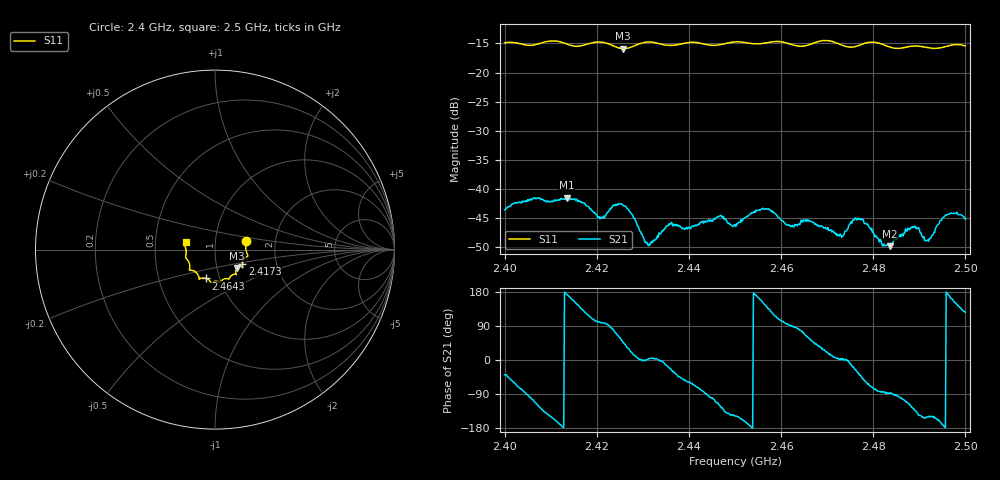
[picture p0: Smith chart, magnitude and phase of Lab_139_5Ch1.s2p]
# Hz S RI R 50
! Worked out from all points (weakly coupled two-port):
!   601 points, 2.4 GHz to 2.5 GHz, reference 50 ohm
!   highest |S21| = -41.47 dB at 2.4135 GHz (marker M1); lowest = -49.8 dB at 2.4837 GHz (marker M2)
!   lowest |S11| = -15.9 dB at 2.4257 GHz (marker M3), VSWR 1.38, Z = 62.5 - j13.1 ohm
!   |S11| at or under -10 dB: start of sweep to end of sweep
!   S12 and S22 are empty: the file has one direction only
!   S11 on the Smith chart (normalised r, x): 2.4 GHz: 1.41, +0.14; 2.4173 GHz: 1.34, -0.22; 2.4643 GHz: 0.86, -0.29; 2.5 GHz: 0.72, +0.06
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2.4e9  0.1732 0.0491  0.00515 -0.00419  0 0  0 0
2.4135e9  0.17 -0.0436  -0.00838 0.00105  0 0  0 0
2.416667e9  0.1529 -0.0742  -0.00554 0.00547  0 0  0 0
2.417333e9  0.1521 -0.0816  -0.00454 0.00608  0 0  0 0
2.421167e9  0.1542 -0.0968  -0.0008 0.00555  0 0  0 0
2.425667e9  0.1229 -0.1025  0.005 0.0053  0 0  0 0
2.431e9  0.1189 -0.1387  0.00345 5.41e-05  0 0  0 0
2.433333e9  0.1127 -0.1374  0.00386 6.02e-05  0 0  0 0
2.435833e9  0.0954 -0.1419  0.0046 -0.00186  0 0  0 0
2.4465e9  0.0439 -0.1668  -0.00272 -0.00514  0 0  0 0
2.45e9  0.0288 -0.1813  -0.00418 -0.00268  0 0  0 0
2.456333e9  -0.00926 -0.1784  -0.00563 0.00364  0 0  0 0
2.464333e9  -0.0495 -0.1608  0.0012 0.00528  0 0  0 0
2.466667e9  -0.0759 -0.1594  0.00339 0.00402  0 0  0 0
2.473167e9  -0.0924 -0.1453  0.00385 7.6e-05  0 0  0 0
2.477333e9  -0.1296 -0.1153  0.00402 -0.00367  0 0  0 0
2.483333e9  -0.1406 -0.0898  0.000124 -0.0034  0 0  0 0
2.483667e9  -0.1409 -0.0862  0.000235 -0.00323  0 0  0 0
2.488667e9  -0.1619 -0.0471  -0.00294 -0.00373  0 0  0 0
2.492e9  -0.161 -0.0258  -0.00308 -0.00179  0 0  0 0
2.4965e9  -0.1685 0.0236  -0.00605 0.00107  0 0  0 0
2.5e9  -0.1639 0.0428  -0.00322 0.00445  0 0  0 0
